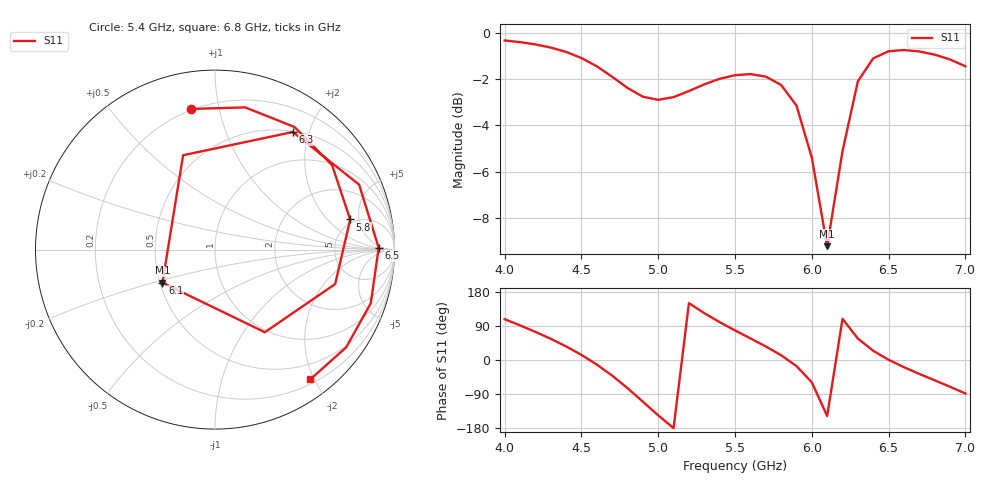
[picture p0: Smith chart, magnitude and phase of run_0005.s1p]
! Touchstone file exported from HFSS 2024.2.0
!  File:  C:/Users/wsak9/Desktop/Sim Fast/Widenad Patch/WP_AI_V1_sweep.aedt
!  Generated:  02:55:58 PM Oct 13, 2026
!  Design:  A1_model
!  Project:  WP_AI_V1_sweep
!  Setup:  Setup1
!  Solution:  Sweep
! Variables:
!  Air_gap = 3.73mm
!  Curve_Amp1 = 2.64
!  Curve_len1 = 1
!  Curve_pos = 10.08mm
!  Extra = 3.49mm
!  H_sub = 0.79mm
!  L_Patch = 16.16mm
!  L_Patch1 = 16.9mm
!  Sx = 4.73mm
!  Sy = 3.6mm
!  WS = 0.97mm
!  W_Patch = 10.95mm
!  W_Patch1 = 13.41mm
!Data is not renormalized
# GHz S MA
! Terminal data exported
! Port[1] = 1
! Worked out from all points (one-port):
!   31 points, 4 GHz to 7 GHz, reference per port
!   lowest |S11| = -9.2 dB at 6.1 GHz (marker M1), VSWR 2.06
!   |S11| at or under -10 dB: nowhere
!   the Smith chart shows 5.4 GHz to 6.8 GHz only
!   S11 on the Smith chart (normalised r, x): 5.4 GHz: 0.19, +0.82; 5.8 GHz: 4.54, +3.76; 6.1 GHz: 0.52, -0.22; 6.3 GHz: 0.51, +1.75; 6.5 GHz: 22, +2; 6.8 GHz: 0.26, -1.95
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4  0.9626 107.8
4.2  0.9438 74.3
4.3  0.9292 55.9
4.4  0.9092 35.9
4.5  0.882 13.5
4.6  0.8464 -12.0
4.7  0.8036 -41.2
4.8  0.7601 -74.2
4.9  0.7276 -110.0
5  0.7164 -146.1
5.1  0.7262 -179.9
5.2  0.7484 150.1
5.3  0.7737 123.6
5.4  0.7954 99.9
5.5  0.8099 78.0
5.6  0.8142 57.0
5.7  0.8042 35.8
5.8  0.7715 12.6
5.9  0.6965 -16.0
6  0.5376 -58.9
6.1  0.3459 -147.8
6.2  0.555 108.7
6.3  0.7858 56.5
6.4  0.8807 24.2
6.5  0.9122 0.6
6.7  0.9113 -36.7
6.8  0.8969 -53.6
7  0.8464 -88.4
